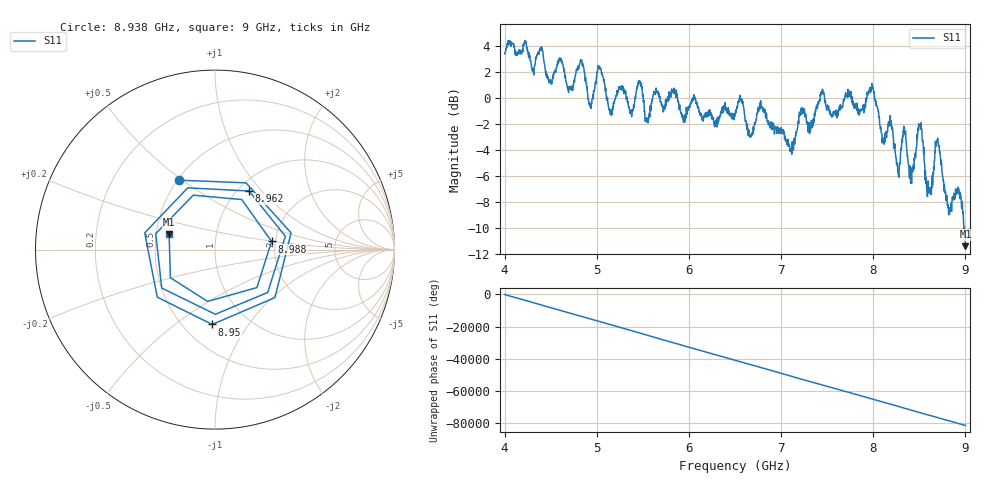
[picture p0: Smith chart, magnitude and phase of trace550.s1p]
! Created with skrf 1.8.0 (http://scikit-rf.org).
# Hz S RI R 50.0
!freq ReS11 ImS11
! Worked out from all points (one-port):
!   1601 points, 4 GHz to 9 GHz, reference 50 ohm
!   lowest |S11| = -11.4 dB at 9 GHz (marker M1), VSWR 1.74, Z = 29.3 + j5.4 ohm
!   |S11| at or under -10 dB: 8.983982 GHz to 8.984115 GHz (133.2 kHz wide, 0.00148 % of centre); 8.990005 GHz to end of sweep
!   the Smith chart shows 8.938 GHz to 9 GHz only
!   S11 on the Smith chart (normalised r, x): 8.938 GHz: 0.51, +0.49; 8.95 GHz: 0.69, -0.69; 8.962 GHz: 1.12, +0.86; 8.988 GHz: 1.91, +0.19; 9 GHz: 0.59, +0.11
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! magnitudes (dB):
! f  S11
! 4 GHz  3.4
! 4.625 GHz  2.7
! 4.712 GHz  0.7
! 4.838 GHz  2.9
! 4.931 GHz  -0.7
! 5.025 GHz  2.3
! 5.147 GHz  -1.2
! 5.25 GHz  0.8
! 5.466 GHz  1.3
! 5.55 GHz  -1.7
! 5.875 GHz  0.0
! 6.5 GHz  -1.3
! 7.125 GHz  -3.9
! 7.225 GHz  -1.2
! 7.75 GHz  0.1
! 7.988 GHz  0.8
! 8.262 GHz  -5.1
! 8.334 GHz  -2.4
! 8.375 GHz  -4.7
! 8.506 GHz  -2.0
! 8.606 GHz  -7.2
! 8.7 GHz  -3.1
! 8.816 GHz  -8.7
! 8.938 GHz  -7.2
! 8.95 GHz  -7.6
! 8.962 GHz  -8.5
! 8.988 GHz  -9.9
! 9 GHz  -11.4
